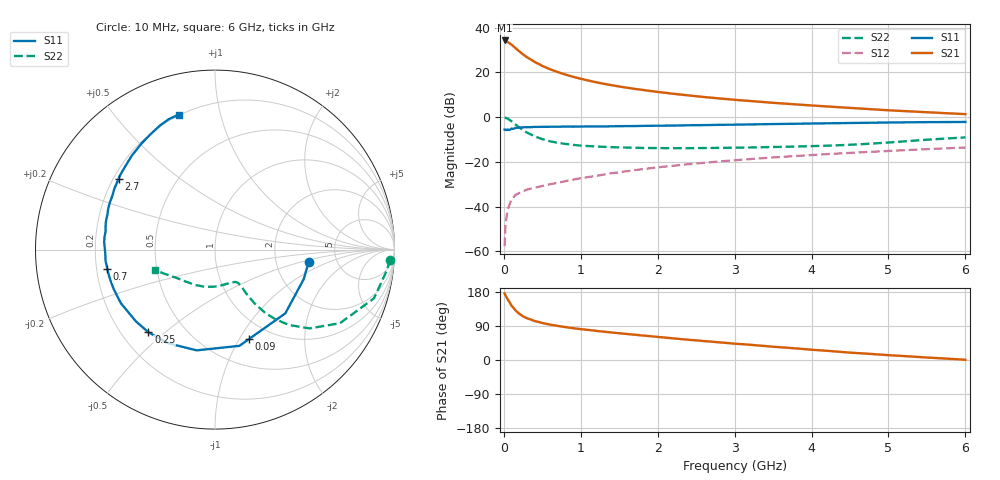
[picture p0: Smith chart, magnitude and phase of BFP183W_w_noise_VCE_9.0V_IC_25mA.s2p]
! Infineon Technologies  Discrete & RF Semiconductors
! BFP183W
! VCE =  9.0 V,  IC =  25 mA
! Common Emitter S-Parameters:  Jan 2017
# GHz  S  MA  R  50
!  f  S11  S21  S12  S22
! GHz  MAG  ANG  MAG  ANG  MAG  ANG  MAG  ANG
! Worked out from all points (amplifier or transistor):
!   77 points, 10 MHz to 6 GHz, reference 50 ohm
!   highest |S21| = 34.3 dB at 10 MHz (marker M1)
!   |S21| within 3 dB of that: start of sweep to 137.5 MHz
!   unconditionally stable (mu >= 1): 1.122 GHz to 3.475 GHz
!   at 130 MHz: K = 0.26, MSG = 33.6 dB, |S12| = -35.7 dB
!   at 2.2 GHz: K = 1.06, MAG = 14.6 dB, |S12| = -21.8 dB
!   at 6 GHz: K = 0.86, MSG = 7.5 dB, |S12| = -13.6 dB
!   lowest NFmin = 1.29 dB at 450 MHz
!   S11 on the Smith chart (normalised r, x): 10 MHz: 3.09, -0.60; 90 MHz: 0.78, -1.10; 250 MHz: 0.31, -0.44; 700 MHz: 0.24, -0.08; 2.7 GHz: 0.22, +0.31; 6 GHz: 0.20, +0.75
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0.01  0.5262 -7.6  51.67 175.8  0.0013 85.4  0.9769 -3.3
0.02  0.521 -18.4  50.7 171.2  0.0035 90.6  0.9643 -6.9
0.05  0.5289 -42.2  48.09 159.9  0.0082 75.5  0.9267 -17.0
0.09  0.5339 -69.5  42.66 147.1  0.0131 66.0  0.8278 -27.5
0.1  0.5532 -75.8  41.69 143.4  0.0143 64.7  0.8081 -30.5
0.15  0.5705 -100.3  35.1 131.2  0.0181 54.7  0.6857 -39.8
0.2  0.5836 -116.6  29.54 122.1  0.02 52.4  0.5877 -45.6
0.25  0.5913 -128.8  25.22 115.2  0.0221 47.7  0.5099 -49.2
0.3  0.595 -137.8  21.81 110.2  0.0239 46.6  0.4501 -51.6
0.4  0.6035 -150.3  17.11 102.8  0.0264 47.4  0.3701 -53.7
0.5  0.6059 -158.7  13.94 97.6  0.0288 48.2  0.3212 -54.4
0.6  0.6081 -165.0  11.78 93.4  0.0316 50.2  0.2881 -54.6
0.7  0.6098 -169.8  10.15 90.0  0.0339 52.9  0.2658 -54.4
0.9  0.6115 -177.8  7.946 84.0  0.04 54.6  0.2395 -54.8
1.1  0.6188 176.2  6.551 79.3  0.0457 57.4  0.2253 -55.5
1.5  0.6264 166.5  4.826 70.6  0.0582 59.4  0.2101 -59.3
2.1  0.6434 154.1  3.485 59.1  0.0784 59.5  0.2021 -70.2
2.7  0.6661 143.8  2.711 48.4  0.0983 57.9  0.2041 -84.9
3.1  0.681 137.5  2.361 41.7  0.1116 56.2  0.2077 -95.1
4.1  0.7219 123.6  1.774 25.7  0.1449 50.9  0.2267 -121.1
5.1  0.7594 112.9  1.391 11.6  0.1782 45.1  0.2778 -147.0
6  0.7784 105.0  1.164 0.6  0.209 39.2  0.3515 -161.1
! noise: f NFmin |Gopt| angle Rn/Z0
0.45  1.29  0.25  177  0.1
0.9  1.32  0.28  180  0.09
1.9  1.8  0.43  -158  0.09
2.4  2.04  0.48  -154  0.13
